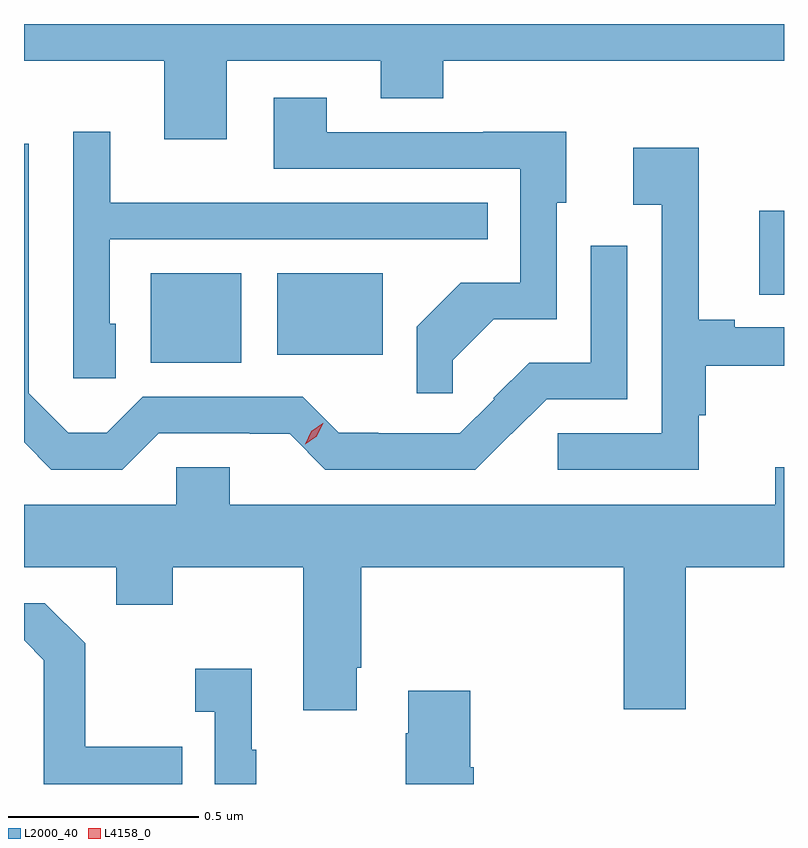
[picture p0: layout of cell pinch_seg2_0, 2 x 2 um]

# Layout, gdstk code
import gdstk
lib = gdstk.Library(unit=1e-6, precision=1e-09)
def R(c, l, rs):  # rectangles x0, y0, x1, y1
    for r in rs: c.add(gdstk.rectangle(r[:2], r[2:], *l))
def P(c, l, *ps):  # polygons
    for p in ps: c.add(gdstk.Polygon(p, *l))
L2000_40 = (2000, 40)
L4158_0 = (4158, 0)

pinch_seg2_0 = lib.new_cell('pinch_seg2_0')
R(pinch_seg2_0, L2000_40, [(631.295,597.557,631.534,597.793), (631.628,597.578,631.906,597.793), (632.897,597.736,632.962,597.957)])
P(pinch_seg2_0, L2000_40, [(631.495,598.352),(631.901,598.352),(631.901,598.253),(632.065,598.253),(632.065,598.352),(632.962,598.352),(632.962,598.449),(630.962,598.449),(630.962,598.352),(631.331,598.352),(631.331,598.146),(631.495,598.146)],
  [(632.09,597.564),(632.198,597.672),(632.364,597.672),(632.364,597.978),(632.389,597.978),(632.389,598.166),(632.171,598.166),(632.171,598.164),(631.759,598.164),(631.759,598.255),(631.619,598.255),(631.619,598.068),(632.268,598.068),(632.268,597.768),(632.111,597.768),(631.995,597.652),(631.995,597.477),(632.09,597.477)],
  [(631.204,597.66),(631.188,597.66),(631.188,597.882),(632.183,597.882),(632.183,597.978),(631.523,597.978),(631.523,597.979),(631.189,597.979),(631.189,598.165),(631.092,598.165),(631.092,597.517),(631.204,597.517)],
  [(631.317,597.372),(631.556,597.372),(631.556,597.371),(631.661,597.371),(631.755,597.276),(632.149,597.276),(632.245,597.372),(632.246,597.371),(632.337,597.462),(632.55,597.462),(632.55,597.865),(632.454,597.865),(632.454,597.558),(632.291,597.558),(632.197,597.464),(632.199,597.462),(632.109,597.372),(631.894,597.372),(631.894,597.374),(631.79,597.374),(631.695,597.468),(631.275,597.468),(631.18,597.373),(631.079,597.373),(630.975,597.477),(630.975,598.134),(630.962,598.134),(630.962,597.348),(631.034,597.276),(631.221,597.276)],
  [(632.738,597.419),(632.756,597.419),(632.756,597.55),(632.962,597.55),(632.962,597.651),(632.833,597.651),(632.833,597.671),(632.737,597.671),(632.737,598.123),(632.565,598.123),(632.565,597.974),(632.64,597.974),(632.64,597.372),(632.367,597.372),(632.367,597.276),(632.738,597.276)],
  [(631.837,596.755),(631.85,596.755),(631.85,597.02),(632.54,597.02),(632.54,596.646),(632.704,596.646),(632.704,597.02),(632.962,597.02),(632.962,597.283),(632.939,597.283),(632.939,597.184),(631.504,597.184),(631.504,597.282),(631.362,597.282),(631.362,597.184),(630.962,597.184),(630.962,597.02),(631.205,597.02),(631.205,596.921),(631.353,596.921),(631.353,597.02),(631.697,597.02),(631.697,596.643),(631.837,596.643)],
  [(631.379,596.547),(631.123,596.547),(631.123,596.819),(631.017,596.925),(630.962,596.925),(630.962,596.827),(631.014,596.775),(631.014,596.449),(631.379,596.449)],
  [(631.573,596.539),(631.561,596.539),(631.561,596.752),(631.413,596.752),(631.413,596.639),(631.464,596.639),(631.464,596.449),(631.573,596.449)],
  [(632.146,596.493),(632.136,596.493),(632.136,596.695),(631.973,596.695),(631.973,596.582),(631.966,596.582),(631.966,596.449),(632.146,596.449)])
P(pinch_seg2_0, L4158_0, [(631.702,597.343),(631.702,597.343),(631.718,597.377),(631.748,597.398),(631.749,597.398),(631.749,597.398),(631.733,597.364),(631.702,597.343)])

lib.write_gds('pinch_seg2_0.gds')
